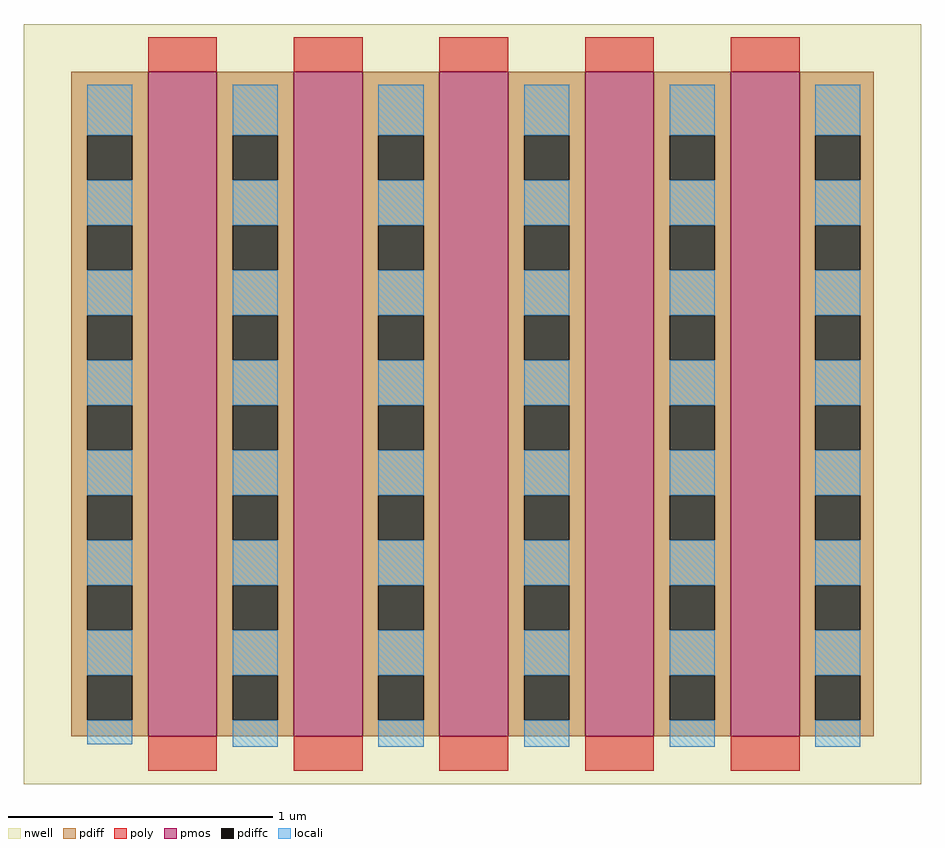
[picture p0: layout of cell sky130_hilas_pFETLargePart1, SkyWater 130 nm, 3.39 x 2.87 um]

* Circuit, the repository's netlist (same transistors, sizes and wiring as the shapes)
* Copyright 2020 The Hilas PDK Authors
* 
* This file is part of HILAS.
* 
* HILAS is free software: you can redistribute it and/or modify
* it under the terms of the GNU Lesser General Public License as published by
* the Free Software Foundation, version 3 of the License.
* 
* HILAS is distributed in the hope that it will be useful,
* but WITHOUT ANY WARRANTY; without even the implied warranty of
* MERCHANTABILITY or FITNESS FOR A PARTICULAR PURPOSE.  See the
* GNU Lesser General Public License for more details.
* 
* You should have received a copy of the GNU Lesser General Public License
* along with HILAS.  If not, see <https://www.gnu.org/licenses/>.
* 
* Licensed under the Lesser General Public License, Version 3.0 (the "License");
* you may not use this file except in compliance with the License.
* You may obtain a copy of the License at
* 
* https://www.gnu.org/licenses/lgpl-3.0.en.html
* 
* Unless required by applicable law or agreed to in writing, software
* distributed under the License is distributed on an "AS IS" BASIS,
* WITHOUT WARRANTIES OR CONDITIONS OF ANY KIND, either express or implied.
* See the License for the specific language governing permissions and
* limitations under the License.
* 
* SPDX-License-Identifier: LGPL-3.0
* 
* 

* NGSPICE file created from sky130_hilas_pFETLargePart1.ext - technology: sky130A

.subckt sky130_hilas_pFETmed SUB a_440_n8# w_294_n44# a_330_n8#
X0 a_440_n8# a_388_n34# a_330_n8# w_294_n44# sky130_fd_pr__pfet_01v8 w=2.51e+06u l=260000u
.ends


* Top level circuit sky130_hilas_pFETLargePart1

Xsky130_hilas_pFETmed_0 SUB sky130_hilas_pFETmed_1/a_330_n8# sky130_hilas_pFETmed_4/w_294_n44#
+ sky130_hilas_pFETmed_4/a_440_n8# sky130_hilas_pFETmed
Xsky130_hilas_pFETmed_2 SUB sky130_hilas_pFETmed_3/a_330_n8# sky130_hilas_pFETmed_4/w_294_n44#
+ sky130_hilas_pFETmed_2/a_330_n8# sky130_hilas_pFETmed
Xsky130_hilas_pFETmed_1 SUB sky130_hilas_pFETmed_2/a_330_n8# sky130_hilas_pFETmed_4/w_294_n44#
+ sky130_hilas_pFETmed_1/a_330_n8# sky130_hilas_pFETmed
Xsky130_hilas_pFETmed_3 SUB sky130_hilas_pFETmed_3/a_440_n8# sky130_hilas_pFETmed_4/w_294_n44#
+ sky130_hilas_pFETmed_3/a_330_n8# sky130_hilas_pFETmed
Xsky130_hilas_pFETmed_4 SUB sky130_hilas_pFETmed_4/a_440_n8# sky130_hilas_pFETmed_4/w_294_n44#
+ sky130_hilas_pFETmed_4/a_330_n8# sky130_hilas_pFETmed
.end

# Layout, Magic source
magic
tech sky130A
use sky130_hilas_pFETmed  sky130_hilas_pFETmed_3
transform 1 0 220 0 1 0
box 0 0 119 287
use sky130_hilas_pFETmed  sky130_hilas_pFETmed_4
transform 1 0 0 0 1 0
box 0 0 119 287
use sky130_hilas_pFETmed  sky130_hilas_pFETmed_0
transform 1 0 55 0 1 0
box 0 0 119 287
use sky130_hilas_pFETmed  sky130_hilas_pFETmed_1
transform 1 0 110 0 1 0
box 0 0 119 287
use sky130_hilas_pFETmed  sky130_hilas_pFETmed_2
transform 1 0 165 0 1 0
box 0 0 119 287
<< properties >>
string LEFsite unithd
string LEFclass CORE
string LEFsymmetry X Y R90
<< end >>

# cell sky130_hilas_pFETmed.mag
magic
tech sky130A
<< nwell >>
rect 0 0 119 287
<< pmos >>
rect 47 18 73 269
<< pdiff >>
rect 18 245 47 269
rect 18 228 24 245
rect 41 228 47 245
rect 18 211 47 228
rect 18 194 24 211
rect 41 194 47 211
rect 18 177 47 194
rect 18 160 24 177
rect 41 160 47 177
rect 18 143 47 160
rect 18 126 24 143
rect 41 126 47 143
rect 18 109 47 126
rect 18 92 24 109
rect 41 92 47 109
rect 18 75 47 92
rect 18 58 24 75
rect 41 58 47 75
rect 18 41 47 58
rect 18 24 24 41
rect 41 24 47 41
rect 18 18 47 24
rect 73 245 101 269
rect 73 228 79 245
rect 96 228 101 245
rect 73 211 101 228
rect 73 194 79 211
rect 96 194 101 211
rect 73 177 101 194
rect 73 160 79 177
rect 96 160 101 177
rect 73 143 101 160
rect 73 126 79 143
rect 96 126 101 143
rect 73 109 101 126
rect 73 92 79 109
rect 96 92 101 109
rect 73 75 101 92
rect 73 58 79 75
rect 96 58 101 75
rect 73 41 101 58
rect 73 24 79 41
rect 96 24 101 41
rect 73 18 101 24
<< pdiffc >>
rect 24 228 41 245
rect 24 194 41 211
rect 24 160 41 177
rect 24 126 41 143
rect 24 92 41 109
rect 24 58 41 75
rect 24 24 41 41
rect 79 228 96 245
rect 79 194 96 211
rect 79 160 96 177
rect 79 126 96 143
rect 79 92 96 109
rect 79 58 96 75
rect 79 24 96 41
<< poly >>
rect 47 269 73 282
rect 47 5 73 18
<< locali >>
rect 24 245 41 264
rect 24 211 41 228
rect 24 177 41 194
rect 24 143 41 160
rect 24 109 41 126
rect 24 75 41 92
rect 24 41 41 58
rect 24 15 41 24
rect 79 245 96 264
rect 79 211 96 228
rect 79 177 96 194
rect 79 143 96 160
rect 79 109 96 126
rect 79 75 96 92
rect 79 41 96 58
rect 79 14 96 24
<< properties >>
string LEFsite unithd
string LEFclass CORE
string LEFsymmetry X Y R90
<< end >>
